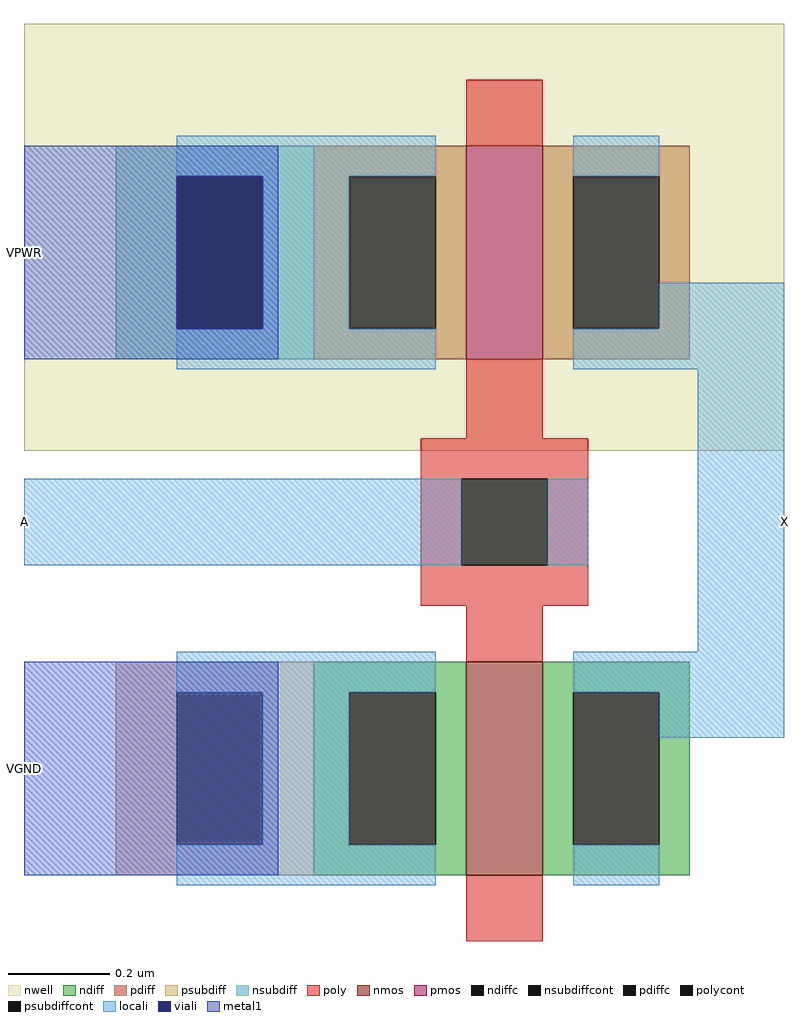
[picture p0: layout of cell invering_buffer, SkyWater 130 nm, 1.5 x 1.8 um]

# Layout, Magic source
magic
tech sky130A
magscale 1 2
<< nwell >>
rect -189 94 110 262
<< nmos >>
rect -15 -73 15 11
<< pmos >>
rect -15 130 15 214
<< ndiff >>
rect -75 -1 -15 11
rect -75 -61 -61 -1
rect -27 -61 -15 -1
rect -75 -73 -15 -61
rect 15 -1 73 11
rect 15 -61 27 -1
rect 61 -61 73 -1
rect 15 -73 73 -61
<< pdiff >>
rect -75 202 -15 214
rect -75 142 -61 202
rect -27 142 -15 202
rect -75 130 -15 142
rect 15 202 73 214
rect 15 142 27 202
rect 61 142 73 202
rect 15 130 73 142
<< ndiffc >>
rect -61 -61 -27 -1
rect 27 -61 61 -1
<< pdiffc >>
rect -61 142 -27 202
rect 27 142 61 202
<< psubdiff >>
rect -153 -1 -75 11
rect -153 -61 -129 -1
rect -95 -61 -75 -1
rect -153 -73 -75 -61
<< nsubdiff >>
rect -153 202 -75 214
rect -153 142 -129 202
rect -95 142 -75 202
rect -153 130 -75 142
<< psubdiffcont >>
rect -129 -61 -95 -1
<< nsubdiffcont >>
rect -129 142 -95 202
<< poly >>
rect -15 214 15 240
rect -15 99 15 130
rect -33 83 33 99
rect -33 49 -17 83
rect 17 49 33 83
rect -33 33 33 49
rect -15 11 15 33
rect -15 -99 15 -73
<< polycont >>
rect -17 49 17 83
<< locali >>
rect -129 202 -27 218
rect -95 142 -61 202
rect -129 126 -27 142
rect 27 202 61 218
rect 61 142 110 160
rect 27 126 110 142
rect -189 49 -17 83
rect 17 49 33 83
rect 76 15 110 126
rect -129 -1 -27 15
rect -95 -61 -61 -1
rect -129 -77 -27 -61
rect 27 -1 110 15
rect 61 -19 110 -1
rect 27 -77 61 -61
<< viali >>
rect -129 142 -95 202
<< metal1 >>
rect -189 202 -89 214
rect -189 142 -129 202
rect -95 142 -89 202
rect -189 130 -89 142
rect -189 -73 -89 11
<< labels >>
rlabel locali -189 66 -189 66 7 A
port 1 w
rlabel locali 110 66 110 66 3 X
port 2 e
rlabel metal1 -189 -31 -189 -31 7 VGND
port 3 w
rlabel metal1 -189 172 -189 172 7 VPWR
port 4 w
<< properties >>
string FIXED_BBOX -500 -500 1000 1000
string gencell sky130_fd_pr__nfet_01v8
string library sky130
string parameters w 0.420 l 0.150 m 1 nf 1 diffcov 100 polycov 100 guard 0 glc 1 grc 1 gtc 1 gbc 1 tbcov 100 rlcov 100 topc 1 botc 0 poverlap 0 doverlap 1 lmin 0.15 wmin 0.42 class mosfet compatible {sky130_fd_pr__nfet_01v8 sky130_fd_pr__nfet_01v8_lvt  sky130_fd_bs_flash__special_sonosfet_star  sky130_fd_pr__nfet_g5v0d10v5 sky130_fd_pr__nfet_05v0_nvt  sky130_fd_pr__nfet_03v3_nvt} full_metal 1 viasrc 100 viadrn 100 viagate 100 viagb 0 viagr 0 viagl 0 viagt 0
<< end >>
